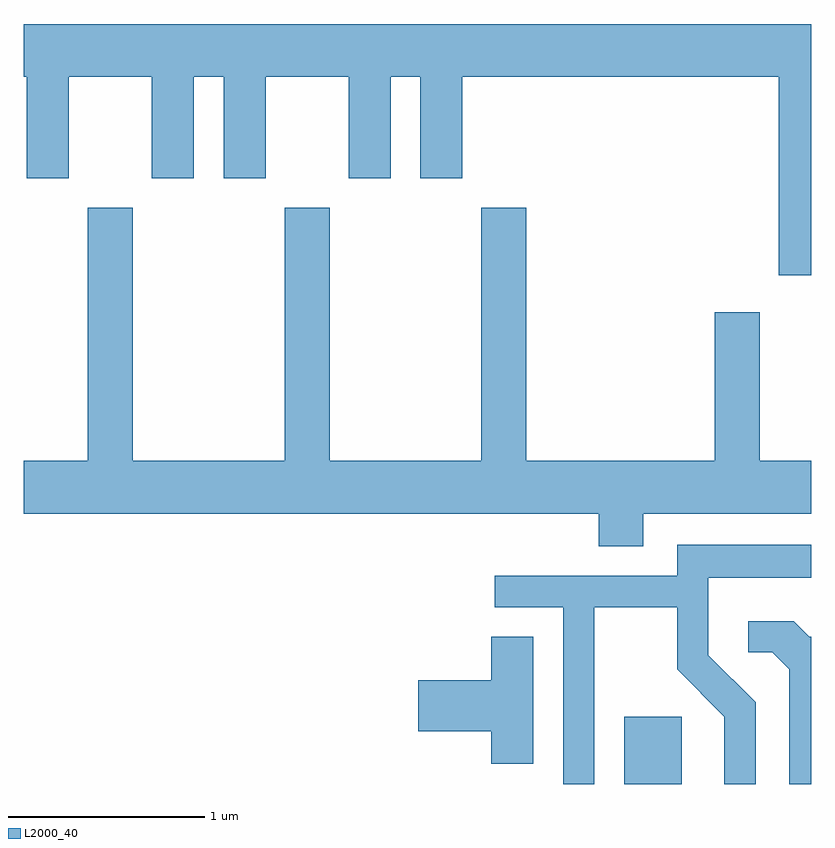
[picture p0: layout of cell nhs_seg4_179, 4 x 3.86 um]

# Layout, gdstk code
import gdstk
lib = gdstk.Library(unit=1e-6, precision=1e-09)
def R(c, l, rs):  # rectangles x0, y0, x1, y1
    for r in rs: c.add(gdstk.rectangle(r[:2], r[2:], *l))
def P(c, l, *ps):  # polygons
    for p in ps: c.add(gdstk.Polygon(p, *l))
L2000_40 = (2000, 40)

nhs_seg4_179 = lib.new_cell('nhs_seg4_179')
R(nhs_seg4_179, L2000_40, [(192.661,1339.982,192.954,1340.324)])
P(nhs_seg4_179, L2000_40, [(193.611,1343.844),(189.611,1343.844),(189.611,1343.576),(189.626,1343.576),(189.626,1343.061),(189.839,1343.061),(189.839,1343.576),(190.261,1343.576),(190.261,1343.061),(190.474,1343.061),(190.474,1343.576),(190.626,1343.576),(190.626,1343.061),(190.839,1343.061),(190.839,1343.576),(191.261,1343.576),(191.261,1343.061),(191.474,1343.061),(191.474,1343.576),(191.626,1343.576),(191.626,1343.061),(191.839,1343.061),(191.839,1343.576),(193.446,1343.576),(193.446,1342.566),(193.611,1342.566)],
  [(192.759,1341.356),(193.611,1341.356),(193.611,1341.624),(193.349,1341.624),(193.349,1342.379),(193.121,1342.379),(193.121,1341.624),(192.164,1341.624),(192.164,1342.909),(191.936,1342.909),(191.936,1341.624),(191.164,1341.624),(191.164,1342.909),(190.936,1342.909),(190.936,1341.624),(190.164,1341.624),(190.164,1342.909),(189.936,1342.909),(189.936,1341.624),(189.611,1341.624),(189.611,1341.356),(192.531,1341.356),(192.531,1341.191),(192.759,1341.191)],
  [(192.509,1340.881),(192.931,1340.881),(192.931,1340.564),(193.171,1340.324),(193.171,1339.982),(193.329,1339.982),(193.329,1340.397),(193.089,1340.637),(193.089,1341.031),(193.611,1341.031),(193.611,1341.199),(192.931,1341.199),(192.931,1341.039),(192.003,1341.039),(192.003,1340.881),(192.351,1340.881),(192.351,1339.982),(192.509,1339.982)],
  [(193.611,1340.729),(193.602,1340.729),(193.522,1340.809),(193.293,1340.809),(193.293,1340.651),(193.414,1340.651),(193.501,1340.564),(193.501,1339.982),(193.611,1339.982)],
  [(192.199,1340.729),(191.986,1340.729),(191.986,1340.509),(191.616,1340.509),(191.616,1340.251),(191.986,1340.251),(191.986,1340.086),(192.199,1340.086)])

lib.write_gds('nhs_seg4_179.gds')
